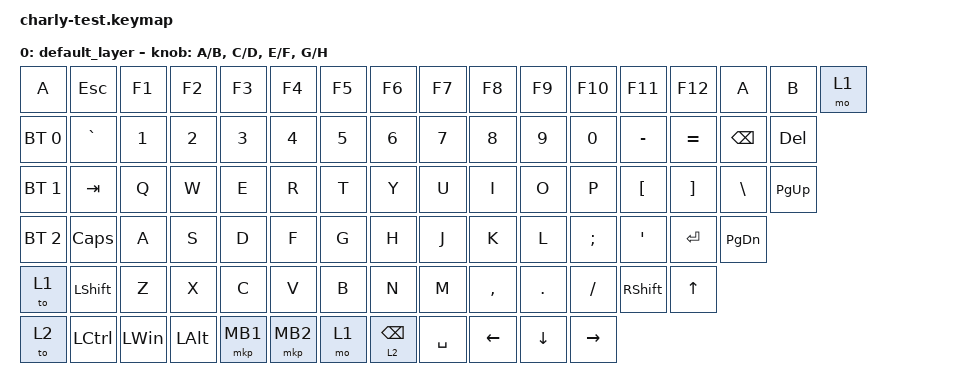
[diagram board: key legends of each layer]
#include <behaviors.dtsi>
#include <dt-bindings/zmk/bt.h>
#include <dt-bindings/zmk/keys.h>
#include <dt-bindings/zmk/outputs.h>

#define ZMK_POINTING_DEFAULT_MOVE_VAL 800
#define ZMK_POINTING_DEFAULT_SCRL_VAL 120
#include <dt-bindings/zmk/pointing.h>

#include <input/processors.dtsi>

#include <dt-bindings/zmk/input_transform.h>

#include <zephyr/dt-bindings/input/input-event-codes.h>

// /* 名前を trackball_listener に修正し、末尾にセミコロンを追加 */
// 
// &trackball_listener {
//    /* ① 通常時の速度 (1.5倍) */
// 
//    input-processors = <&zip_xy_scaler 3 2>;
// 
//    /* ② 低速モード (SNIPE: Layer 3) */
//    /* 1/2 = 0.5倍速 */
// 
//    snipe {
//        layers = <3>;
//        input-processors = <&zip_xy_scaler 1 2>;
//    };
// 
//    /* ③ 高速モード (MOUSE: Layer 2) */
//    /* 5/2 = 2.5倍速 (ここは好きな数値に変えてOK) */
// 
//    turbo {
//        layers = <2>;
//        input-processors = <&zip_xy_scaler 5 2>;
//    };
// 
//    /* --- 以下スクロール設定 (変更なし) --- */
// 
//    scroller {
//        layers = <4>;
//        input-processors = <&zip_xy_to_scroll_mapper>;
//    };
// 
//    scroller_warp {
//        layers = <5>;
//        input-processors = <&zip_xy_scaler 4 1>, <&zip_xy_to_scroll_mapper>;
//    };
// 
//    scroller_snipe {
//        layers = <6>;
//        input-processors = <&zip_xy_scaler 1 4>, <&zip_xy_to_scroll_mapper>;
//    };
// };

/ {
    keymap {
        compatible = "zmk,keymap";

        default_layer {
            bindings = <
&kp A         &kp ESCAPE      &kp F1        &kp F2        &kp F3        &kp F4        &kp F5  &kp F6             &kp F7       &kp F8       &kp F9       &kp F10            &kp F11             &kp F12             &kp A          &kp B       &mo 1
&bt BT_SEL 0  &kp GRAVE       &kp NUMBER_1  &kp NUMBER_2  &kp NUMBER_3  &kp NUMBER_4  &kp N5  &kp NUMBER_6       &kp N7       &kp N8       &kp N9       &kp N0             &kp MINUS           &kp EQUAL           &kp BACKSPACE  &kp DEL
&bt BT_SEL 1  &kp TAB         &kp Q         &kp W         &kp E         &kp R         &kp T   &kp Y              &kp U        &kp I        &kp O        &kp P              &kp LEFT_BRACKET    &kp RIGHT_BRACKET   &kp BACKSLASH  &kp PG_UP
&bt BT_SEL 2  &kp CAPSLOCK    &kp A         &kp S         &kp D         &kp F         &kp G   &kp H              &kp J        &kp K        &kp L        &kp SEMICOLON      &kp SQT             &kp ENTER           &kp PAGE_DOWN
&to 1         &kp LEFT_SHIFT  &kp Z         &kp X         &kp C         &kp V         &kp B   &kp N              &kp M        &kp COMMA    &kp PERIOD   &kp SLASH          &kp RSHIFT          &kp UP_ARROW
&to 2         &kp LCTRL       &kp LEFT_WIN  &kp LEFT_ALT  &mkp MB1      &mkp MB2      &mo 1   &lt 2 BACKSPACE    &kp SPACE    &kp LEFT     &kp DOWN     &kp RIGHT_ARROW
            >;

            sensor-bindings =
                <&inc_dec_kp A B>,
                <&inc_dec_kp C D>,
                <&inc_dec_kp E F>,
                <&inc_dec_kp G H>;
        };
    };
};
